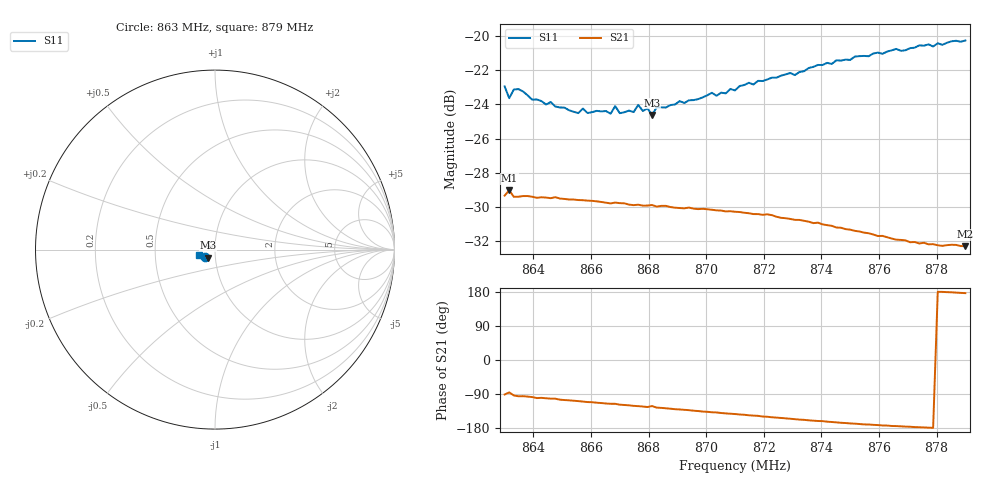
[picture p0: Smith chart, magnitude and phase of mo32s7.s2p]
# HZ S RI R 50
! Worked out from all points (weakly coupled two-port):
!   101 points, 863 MHz to 879 MHz, reference 50 ohm
!   highest |S21| = -29.02 dB at 863.16 MHz (marker M1); lowest = -32.3 dB at 879 MHz (marker M2)
!   lowest |S11| = -24.6 dB at 868.12 MHz (marker M3), VSWR 1.12, Z = 46.1 - j4.11 ohm
!   |S11| at or under -10 dB: start of sweep to end of sweep
!   S12 and S22 are empty: the file has one direction only
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8.63e8  -0.0576 -0.0418  -0.000634 -0.0341  0 0  0 0
8.6316e8  -0.0488 -0.044  0.0028 -0.0353  0 0  0 0
8.6332e8  -0.0561 -0.0412  -0.00214 -0.0338  0 0  0 0
8.6348e8  -0.056 -0.0418  -0.00335 -0.0337  0 0  0 0
8.6444e8  -0.0495 -0.039  -0.00644 -0.0331  0 0  0 0
8.646e8  -0.0499 -0.0402  -0.00696 -0.0328  0 0  0 0
8.6556e8  -0.0447 -0.0393  -0.0105 -0.0314  0 0  0 0
8.6572e8  -0.0452 -0.0414  -0.0112 -0.0312  0 0  0 0
8.6588e8  -0.0436 -0.0404  -0.0118 -0.0308  0 0  0 0
8.6668e8  -0.0419 -0.0419  -0.014 -0.0292  0 0  0 0
8.6684e8  -0.0439 -0.0442  -0.0141 -0.0294  0 0  0 0
8.67e8  -0.041 -0.043  -0.0152 -0.0287  0 0  0 0
8.6748e8  -0.0401 -0.0445  -0.0165 -0.0275  0 0  0 0
8.6764e8  -0.0431 -0.0458  -0.0169 -0.0273  0 0  0 0
8.6812e8  -0.0384 -0.0444  -0.0168 -0.0273  0 0  0 0
8.6828e8  -0.04 -0.0471  -0.0185 -0.0258  0 0  0 0
8.6844e8  -0.0399 -0.0471  -0.0189 -0.0257  0 0  0 0
8.71e8  -0.0453 -0.0524  -0.0243 -0.0186  0 0  0 0
8.7148e8  -0.0483 -0.0546  -0.0251 -0.017  0 0  0 0
8.7372e8  -0.0583 -0.0564  -0.0267 -0.00967  0 0  0 0
8.7644e8  -0.0771 -0.0476  -0.0255 -0.00263  0 0  0 0
8.79e8  -0.0916 -0.0315  -0.0243 0.00151  0 0  0 0
